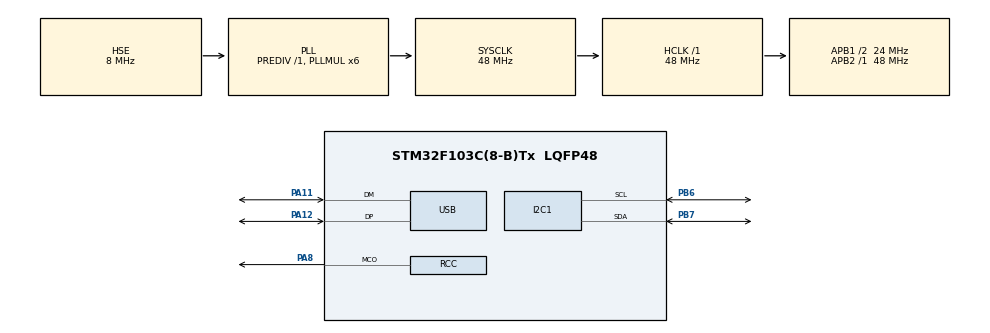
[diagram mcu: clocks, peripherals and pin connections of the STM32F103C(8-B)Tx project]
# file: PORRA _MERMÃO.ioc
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Mcu.Family=STM32F1
Mcu.Name=STM32F103C(8-B)Tx
Mcu.Package=LQFP48
NVIC.I2C1_EV_IRQn=true\:0\:0\:false\:false\:true\:true
NVIC.PriorityGroup=NVIC_PRIORITYGROUP_4
NVIC.USB_LP_CAN1_RX0_IRQn=true\:0\:0\:false\:false\:true\:false
PA11.Mode=Device
PA11.Signal=USB_DM
PA12.Mode=Device
PA12.Signal=USB_DP
PA13.Mode=Serial_Wire
PA13.Signal=SYS_JTMS-SWDIO
PA14.Mode=Serial_Wire
PA14.Signal=SYS_JTCK-SWCLK
PA8.Mode=Clock-out
PA8.Signal=RCC_MCO
PB6.Mode=I2C
PB6.Signal=I2C1_SCL
PB7.Mode=I2C
PB7.Signal=I2C1_SDA
PC14-OSC32_IN.Mode=LSE-External-Oscillator
PC14-OSC32_IN.Signal=RCC_OSC32_IN
PC15-OSC32_OUT.Mode=LSE-External-Oscillator
PC15-OSC32_OUT.Signal=RCC_OSC32_OUT
PD0-OSC_IN.Mode=HSE-External-Oscillator
PD0-OSC_IN.Signal=RCC_OSC_IN
PD1-OSC_OUT.Mode=HSE-External-Oscillator
PD1-OSC_OUT.Signal=RCC_OSC_OUT
ProjectManager.HeapSize=0x200
ProjectManager.StackSize=0x400
ProjectManager.TargetToolchain=TrueSTUDIO
RCC.AHBFreq_Value=48000000
RCC.APB1CLKDivider=RCC_HCLK_DIV2
RCC.APB1Freq_Value=24000000
RCC.APB1TimFreq_Value=48000000
RCC.APB2Freq_Value=48000000
RCC.APB2TimFreq_Value=48000000
RCC.HCLKFreq_Value=48000000
RCC.PLLMUL=RCC_PLL_MUL6
RCC.SYSCLKFreq_VALUE=48000000
RCC.SYSCLKSource=RCC_SYSCLKSOURCE_PLLCLK
RCC.USBFreq_Value=48000000
USB_DEVICE.CLASS_NAME_FS=HID
USB_DEVICE.VirtualMode=Hid
USB_DEVICE.VirtualModeFS=Hid_FS
VP_USB_DEVICE_VS_USB_DEVICE_HID_FS.Mode=HID_FS
board=PORRA _MERM\u00C3O

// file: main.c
/**
  ******************************************************************************
  * File Name          : main.c
  * Description        : Main program body
  ******************************************************************************
  * This notice applies to any and all portions of this file
  * that are not between comment pairs USER CODE BEGIN and
  * USER CODE END. Other portions of this file, whether
  * inserted by the user or by software development tools
  * are owned by their respective copyright owners.
  *
  * Copyright (c) 2017 STMicroelectronics International N.V.
  * All rights reserved.
  *
  * Redistribution and use in source and binary forms, with or without
  * modification, are permitted, provided that the following conditions are met:
  *
  * 1. Redistribution of source code must retain the above copyright notice,
  *    this list of conditions and the following disclaimer.
  * 2. Redistributions in binary form must reproduce the above copyright notice,
  *    this list of conditions and the following disclaimer in the documentation
  *    and/or other materials provided with the distribution.
  * 3. Neither the name of STMicroelectronics nor the names of other
  *    contributors to this software may be used to endorse or promote products
  *    derived from this software without specific written permission.
  * 4. This software, including modifications and/or derivative works of this
  *    software, must execute solely and exclusively on microcontroller or
  *    microprocessor devices manufactured by or for STMicroelectronics.
  * 5. Redistribution and use of this software other than as permitted under
  *    this license is void and will automatically terminate your rights under
  *    this license.
  *
  * THIS SOFTWARE IS PROVIDED BY STMICROELECTRONICS AND CONTRIBUTORS "AS IS"
  * AND ANY EXPRESS, IMPLIED OR STATUTORY WARRANTIES, INCLUDING, BUT NOT
  * LIMITED TO, THE IMPLIED WARRANTIES OF MERCHANTABILITY, FITNESS FOR A
  * PARTICULAR PURPOSE AND NON-INFRINGEMENT OF THIRD PARTY INTELLECTUAL PROPERTY
  * RIGHTS ARE DISCLAIMED TO THE FULLEST EXTENT PERMITTED BY LAW. IN NO EVENT
  * SHALL STMICROELECTRONICS OR CONTRIBUTORS BE LIABLE FOR ANY DIRECT, INDIRECT,
  * INCIDENTAL, SPECIAL, EXEMPLARY, OR CONSEQUENTIAL DAMAGES (INCLUDING, BUT NOT
  * LIMITED TO, PROCUREMENT OF SUBSTITUTE GOODS OR SERVICES; LOSS OF USE, DATA,
  * OR PROFITS; OR BUSINESS INTERRUPTION) HOWEVER CAUSED AND ON ANY THEORY OF
  * LIABILITY, WHETHER IN CONTRACT, STRICT LIABILITY, OR TORT (INCLUDING
  * NEGLIGENCE OR OTHERWISE) ARISING IN ANY WAY OUT OF THE USE OF THIS SOFTWARE,
  * EVEN IF ADVISED OF THE POSSIBILITY OF SUCH DAMAGE.
  *
  ******************************************************************************
  */

#include "main.h"
#include "stm32f1xx_hal.h"
#include "i2c.h"
#include "usb_device.h"
#include "gpio.h"

/* USER CODE BEGIN Includes */
#include "sd_hal_mpu6050.h"
#include "stm32f1xx.h"
#include "stm32f1xx_hal.h"
/* USER CODE END Includes */

/* USER CODE BEGIN PV */
/* Private variables ---------------------------------------------------------*/

SD_MPU6050 mpu1;
/* USER CODE END PV */

void SystemClock_Config(void);

/* USER CODE BEGIN PFP */
/* Private function prototypes -----------------------------------------------*/

/* USER CODE END PFP */

int main(void)
{

  /* USER CODE BEGIN 1 */
	SD_MPU6050_Result result ;
	uint8_t mpu_ok[15] = {"MPU WORK FINE\n"};
	uint8_t mpu_not[17] = {"MPU NOT WORKING\n"};

	//	HID MOUSE
		struct mouseHID_t {
		      uint8_t buttons;
		      int8_t x;
		      int8_t y;
		      int8_t wheel;
		  };
		  struct mouseHID_t mouseHID;
		  mouseHID.buttons = 0;
		  mouseHID.x = 10;
		  mouseHID.y = 0;
		  mouseHID.wheel = 0;

  /* USER CODE END 1 */

  /* MCU Configuration----------------------------------------------------------*/

  /* Reset of all peripherals, Initializes the Flash interface and the Systick. */
  HAL_Init();

  /* Configure the system clock */
  SystemClock_Config();

  /* Initialize all configured peripherals */
  MX_GPIO_Init();
  MX_I2C1_Init();
  MX_USB_DEVICE_Init();

  /* Infinite loop */
  /* USER CODE BEGIN WHILE */
  while (1)
  {
	  result = SD_MPU6050_Init(&hi2c1,&mpu1,SD_MPU6050_Device_0,SD_MPU6050_Accelerometer_2G,SD_MPU6050_Gyroscope_250s );
	  HAL_Delay(50);
  /* USER CODE END WHILE */

  /* USER CODE BEGIN 3 */
	  /*
	  SD_MPU6050_ReadAccelerometer(&hi2c1,&mpu1);
	  int16_t a_x = mpu1.Accelerometer_X;
	  int16_t a_y = mpu1.Accelerometer_Y;
	  int16_t a_z = mpu1.Accelerometer_Z;
	  */

	  SD_MPU6050_ReadGyroscope(&hi2c1, &mpu1);
	  int16_t g_x = mpu1.Gyroscope_X;
	  int16_t g_y = mpu1.Gyroscope_Y;
	  int16_t g_z = mpu1.Gyroscope_Z;

	  mouseHID.x = (g_y)/100;
	  mouseHID.y = (g_x)/100;
	  USBD_HID_SendReport(&hUsbDeviceFS, &mouseHID, sizeof(struct mouseHID_t));
	  HAL_Delay(10);

  }
  /* USER CODE END 3 */

}

/** System Clock Configuration
*/
void SystemClock_Config(void)
{

  RCC_OscInitTypeDef RCC_OscInitStruct;
  RCC_ClkInitTypeDef RCC_ClkInitStruct;
  RCC_PeriphCLKInitTypeDef PeriphClkInit;

    /**Initializes the CPU, AHB and APB busses clocks
    */
  RCC_OscInitStruct.OscillatorType = RCC_OSCILLATORTYPE_HSE;
  RCC_OscInitStruct.HSEState = RCC_HSE_ON;
  RCC_OscInitStruct.HSEPredivValue = RCC_HSE_PREDIV_DIV1;
  RCC_OscInitStruct.HSIState = RCC_HSI_ON;
  RCC_OscInitStruct.PLL.PLLState = RCC_PLL_ON;
  RCC_OscInitStruct.PLL.PLLSource = RCC_PLLSOURCE_HSE;
  RCC_OscInitStruct.PLL.PLLMUL = RCC_PLL_MUL6;
  if (HAL_RCC_OscConfig(&RCC_OscInitStruct) != HAL_OK)
  {
    _Error_Handler(__FILE__, __LINE__);
  }

    /**Initializes the CPU, AHB and APB busses clocks
    */
  RCC_ClkInitStruct.ClockType = RCC_CLOCKTYPE_HCLK|RCC_CLOCKTYPE_SYSCLK
                              |RCC_CLOCKTYPE_PCLK1|RCC_CLOCKTYPE_PCLK2;
  RCC_ClkInitStruct.SYSCLKSource = RCC_SYSCLKSOURCE_PLLCLK;
  RCC_ClkInitStruct.AHBCLKDivider = RCC_SYSCLK_DIV1;
  RCC_ClkInitStruct.APB1CLKDivider = RCC_HCLK_DIV2;
  RCC_ClkInitStruct.APB2CLKDivider = RCC_HCLK_DIV1;

  if (HAL_RCC_ClockConfig(&RCC_ClkInitStruct, FLASH_LATENCY_1) != HAL_OK)
  {
    _Error_Handler(__FILE__, __LINE__);
  }

  PeriphClkInit.PeriphClockSelection = RCC_PERIPHCLK_USB;
  PeriphClkInit.UsbClockSelection = RCC_USBCLKSOURCE_PLL;
  if (HAL_RCCEx_PeriphCLKConfig(&PeriphClkInit) != HAL_OK)
  {
    _Error_Handler(__FILE__, __LINE__);
  }

  HAL_RCC_MCOConfig(RCC_MCO, RCC_MCO1SOURCE_SYSCLK, RCC_MCODIV_1);

    /**Configure the Systick interrupt time
    */
  HAL_SYSTICK_Config(HAL_RCC_GetHCLKFreq()/1000);

    /**Configure the Systick
    */
  HAL_SYSTICK_CLKSourceConfig(SYSTICK_CLKSOURCE_HCLK);

  /* SysTick_IRQn interrupt configuration */
  HAL_NVIC_SetPriority(SysTick_IRQn, 0, 0);
}

void _Error_Handler(char * file, int line)
{
  while(1)
  {
  }
}

/************************ (C) COPYRIGHT STMicroelectronics *****END OF FILE****/
